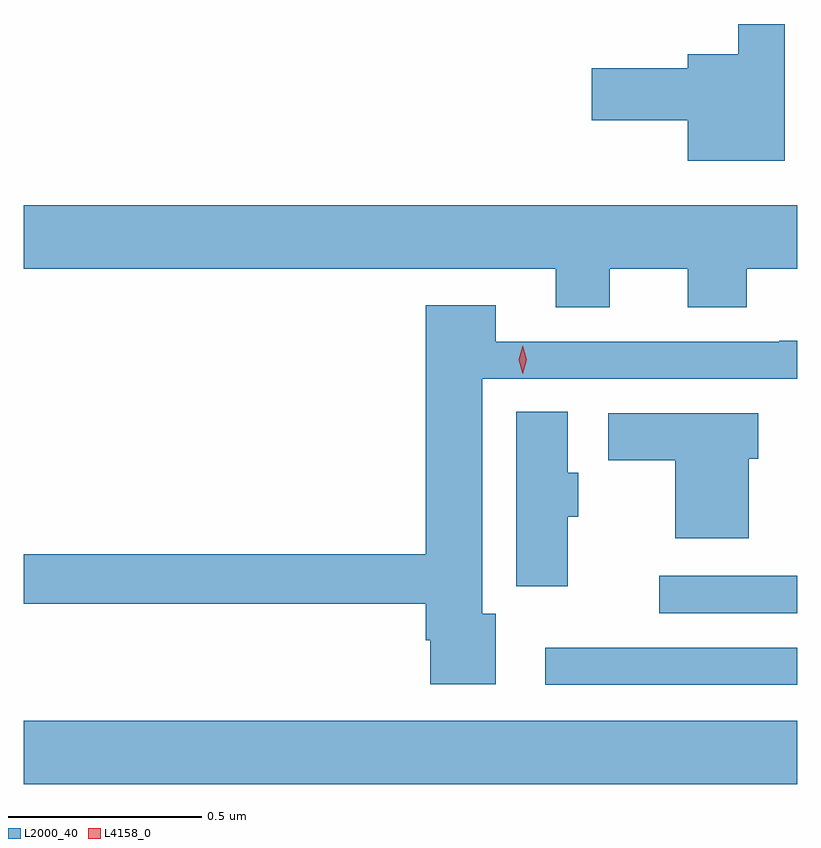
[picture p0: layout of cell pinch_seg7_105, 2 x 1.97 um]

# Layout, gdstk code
import gdstk
lib = gdstk.Library(unit=1e-6, precision=1e-09)
def R(c, l, rs):  # rectangles x0, y0, x1, y1
    for r in rs: c.add(gdstk.rectangle(r[:2], r[2:], *l))
def P(c, l, *ps):  # polygons
    for p in ps: c.add(gdstk.Polygon(p, *l))
L2000_40 = (2000, 40)
L4158_0 = (4158, 0)

pinch_seg7_105 = lib.new_cell('pinch_seg7_105')
R(pinch_seg7_105, L2000_40, [(934.873,1032.584,936.873,1032.748), (936.222,1032.84,936.873,1032.936), (936.516,1033.026,936.873,1033.122)])
P(pinch_seg7_105, L2000_40, [(936.841,1034.549),(936.72,1034.549),(936.72,1034.471),(936.59,1034.471),(936.59,1034.435),(936.342,1034.435),(936.342,1034.3),(936.59,1034.3),(936.59,1034.195),(936.841,1034.195)],
  [(936.388,1033.916),(936.59,1033.916),(936.59,1033.817),(936.743,1033.817),(936.743,1033.916),(936.873,1033.916),(936.873,1034.08),(934.873,1034.08),(934.873,1033.916),(936.248,1033.916),(936.248,1033.817),(936.388,1033.817)],
  [(936.094,1033.024),(936.058,1033.024),(936.058,1033.632),(936.873,1033.632),(936.873,1033.73),(936.826,1033.73),(936.826,1033.728),(936.094,1033.728),(936.094,1033.822),(935.912,1033.822),(935.912,1033.178),(934.873,1033.178),(934.873,1033.05),(935.912,1033.05),(935.912,1032.956),(935.924,1032.956),(935.924,1032.842),(936.094,1032.842)],
  [(936.28,1033.275),(936.307,1033.275),(936.307,1033.389),(936.28,1033.389),(936.28,1033.547),(936.146,1033.547),(936.146,1033.095),(936.28,1033.095)],
  [(936.748,1033.425),(936.772,1033.425),(936.772,1033.543),(936.384,1033.543),(936.384,1033.421),(936.557,1033.421),(936.557,1033.22),(936.748,1033.22)])
P(pinch_seg7_105, L4158_0, [(936.163,1033.645),(936.163,1033.645),(936.153,1033.681),(936.163,1033.717),(936.163,1033.717),(936.163,1033.717),(936.173,1033.681),(936.163,1033.645)])

lib.write_gds('pinch_seg7_105.gds')
